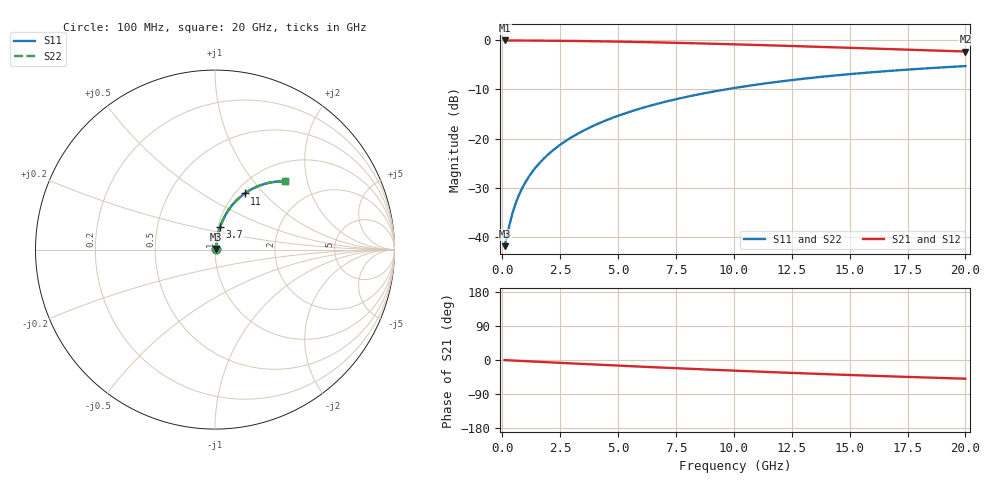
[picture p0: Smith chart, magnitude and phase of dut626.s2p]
! Touchstone file exported from HFSS 2024.1.0
!  File:  C:/UserFiles/LocalFiles/RDL_TSV_Batchsim/temp_RDL_top_626_1779780396.aedt
!  Generated:  03:28:58 PM May 26, 2026
!  Design:  RDL_top
!  Project:  temp_RDL_top_626_1779780396
!  Setup:  Setup1
!  Solution:  Sweep
! Variables:
!  dtsv = 10.80580581um
!  hbump = 3um
!  htsv = 65.31um
!  ldown = 100um
!  lrdl = 608.1um
!  p = 40
!  p1 = 58.11um
!  rhole = 1um
!  t = 450um
!  tdown = 3.915915916um
!  trdl = 2.28um
!  wdown = 15.38538539um
!  wrdl = 13.14um
# GHz S MA R 50.000000
! Terminal data exported
! Port[1] = Box2_T1
! Port[2] = Box2_T2
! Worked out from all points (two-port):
!   200 points, 100 MHz to 20 GHz, reference 50 ohm
!   highest |S21| = -0.06 dB at 100 MHz (marker M1); lowest = -2.3 dB at 20 GHz (marker M2)
!   |S21| within 3 dB of the highest: start of sweep to end of sweep
!   lowest |S11| = -41.8 dB at 100 MHz (marker M3), VSWR 1.02, Z = 50.7 + j0.364 ohm
!   |S11| at or under -10 dB: start of sweep to 9.653 GHz
!   |S22| runs from -41.8 to -5.3 dB; largest |S21 - S12| = 3e-15
!   S11 on the Smith chart (normalised r, x): 100 MHz: 1.01, +0.01; 3.7 GHz: 1.02, +0.26; 11 GHz: 1.10, +0.79; 20 GHz: 1.36, +1.47
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0.1  0.008097 26.3  0.9927 -0.3  0.9927 -0.3  0.008097 26.3
! Gamma 0 0 0 0
! Port Impedance 50 0 50 0
0.3  0.01308 54.9  0.9925 -0.9  0.9925 -0.9  0.01308 54.9
0.4  0.01619 61.5  0.9923 -1.2  0.9923 -1.2  0.01619 61.5
0.6  0.02274 68.7  0.9919 -1.9  0.9919 -1.9  0.02274 68.7
0.7  0.02607 70.9  0.9916 -2.2  0.9916 -2.2  0.02607 70.9
0.9  0.03278 73.7  0.9911 -2.8  0.9911 -2.8  0.03278 73.7
1.2  0.04285 76.0  0.9902 -3.7  0.9902 -3.7  0.04285 76.0
1.4  0.04958 76.9  0.9895 -4.3  0.9895 -4.3  0.04957 76.9
1.7  0.05968 77.7  0.9884 -5.2  0.9884 -5.2  0.05967 77.7
2.2  0.07654 78.3  0.9862 -6.6  0.9862 -6.6  0.07654 78.3
2.8  0.09681 78.2  0.9831 -8.4  0.9831 -8.4  0.09681 78.1
3.5  0.1204 77.5  0.9786 -10.5  0.9786 -10.5  0.1204 77.5
3.7  0.1272 77.2  0.9772 -11.1  0.9772 -11.1  0.1272 77.2
4.4  0.1506 76.1  0.9717 -13.1  0.9717 -13.1  0.1506 76.1
5.1  0.1739 74.9  0.9655 -15.1  0.9655 -15.1  0.1739 74.9
6.8  0.2293 71.4  0.9479 -19.8  0.9479 -19.8  0.2292 71.4
8.4  0.2791 67.9  0.9285 -24.0  0.9285 -24.0  0.279 67.9
10.1  0.329 64.1  0.906 -28.4  0.906 -28.4  0.3289 64.1
11  0.354 62.1  0.8935 -30.5  0.8935 -30.5  0.3539 62.1
13.4  0.4153 56.9  0.8592 -36.1  0.8592 -36.1  0.4152 56.9
16.7  0.487 50.2  0.8118 -43.1  0.8118 -43.1  0.4869 50.2
20  0.5452 44.3  0.7665 -49.4  0.7665 -49.4  0.545 44.2
